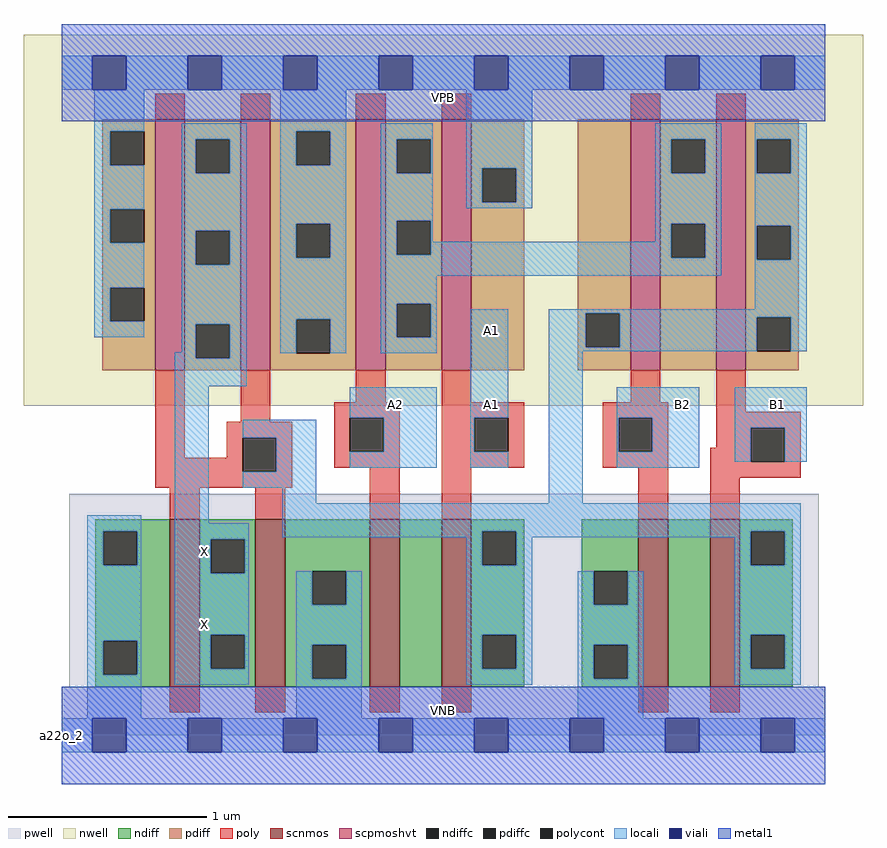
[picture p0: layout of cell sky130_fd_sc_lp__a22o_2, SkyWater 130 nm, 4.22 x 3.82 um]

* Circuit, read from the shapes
.subckt sky130_fd_sc_lp__a22o_2 A1 A2 B1 B2 VGND VNB VPB VPWR X
XM1 X n1 VGND VNB sky130_fd_pr__nfet_01v8 w=0.84 l=0.15 m=2
XM2 n2 A2 VGND VNB sky130_fd_pr__nfet_01v8 w=0.84 l=0.15
XM3 n1 A1 n2 VNB sky130_fd_pr__nfet_01v8 w=0.84 l=0.15
XM4 n3 B2 VGND VNB sky130_fd_pr__nfet_01v8 w=0.84 l=0.15
XM5 n1 B1 n3 VNB sky130_fd_pr__nfet_01v8 w=0.84 l=0.15
XM6 X n1 VPWR VPB sky130_fd_pr__pfet_01v8_hvt w=1.26 l=0.15 m=2
XM7 n4 A2 VPWR VPB sky130_fd_pr__pfet_01v8_hvt w=1.26 l=0.15
XM8 VPWR A1 n4 VPB sky130_fd_pr__pfet_01v8_hvt w=1.26 l=0.15
XM9 n4 B2 n1 VPB sky130_fd_pr__pfet_01v8_hvt w=1.26 l=0.15
XM10 n1 B1 n4 VPB sky130_fd_pr__pfet_01v8_hvt w=1.26 l=0.15
.ends

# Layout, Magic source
magic
tech sky130A
magscale 1 2
<< nwell >>
rect -38 331 806 704
<< pwell >>
rect 8 49 761 243
rect 0 0 768 49
<< scnmos >>
rect 109 49 139 217
rect 195 49 225 217
rect 310 49 340 217
rect 382 49 412 217
rect 580 49 610 217
rect 652 49 682 217
<< scpmoshvt >>
rect 94 367 124 619
rect 180 367 210 619
rect 296 367 326 619
rect 382 367 412 619
rect 572 367 602 619
rect 658 367 688 619
<< ndiff >>
rect 34 205 109 217
rect 34 171 42 205
rect 76 171 109 205
rect 34 95 109 171
rect 34 61 42 95
rect 76 61 109 95
rect 34 49 109 61
rect 139 197 195 217
rect 139 163 150 197
rect 184 163 195 197
rect 139 101 195 163
rect 139 67 150 101
rect 184 67 195 101
rect 139 49 195 67
rect 225 165 310 217
rect 225 131 252 165
rect 286 131 310 165
rect 225 91 310 131
rect 225 57 252 91
rect 286 57 310 91
rect 225 49 310 57
rect 340 49 382 217
rect 412 205 465 217
rect 412 171 423 205
rect 457 171 465 205
rect 412 101 465 171
rect 412 67 423 101
rect 457 67 465 101
rect 412 49 465 67
rect 523 165 580 217
rect 523 131 535 165
rect 569 131 580 165
rect 523 91 580 131
rect 523 57 535 91
rect 569 57 580 91
rect 523 49 580 57
rect 610 49 652 217
rect 682 205 735 217
rect 682 171 693 205
rect 727 171 735 205
rect 682 101 735 171
rect 682 67 693 101
rect 727 67 735 101
rect 682 49 735 67
<< pdiff >>
rect 41 607 94 619
rect 41 573 49 607
rect 83 573 94 607
rect 41 529 94 573
rect 41 495 49 529
rect 83 495 94 529
rect 41 450 94 495
rect 41 416 49 450
rect 83 416 94 450
rect 41 367 94 416
rect 124 599 180 619
rect 124 565 135 599
rect 169 565 180 599
rect 124 507 180 565
rect 124 473 135 507
rect 169 473 180 507
rect 124 413 180 473
rect 124 379 135 413
rect 169 379 180 413
rect 124 367 180 379
rect 210 607 296 619
rect 210 573 236 607
rect 270 573 296 607
rect 210 514 296 573
rect 210 480 236 514
rect 270 480 296 514
rect 210 418 296 480
rect 210 384 236 418
rect 270 384 296 418
rect 210 367 296 384
rect 326 599 382 619
rect 326 565 337 599
rect 371 565 382 599
rect 326 517 382 565
rect 326 483 337 517
rect 371 483 382 517
rect 326 434 382 483
rect 326 400 337 434
rect 371 400 382 434
rect 326 367 382 400
rect 412 570 465 619
rect 412 536 423 570
rect 457 536 465 570
rect 412 367 465 536
rect 519 424 572 619
rect 519 390 527 424
rect 561 390 572 424
rect 519 367 572 390
rect 602 599 658 619
rect 602 565 613 599
rect 647 565 658 599
rect 602 514 658 565
rect 602 480 613 514
rect 647 480 658 514
rect 602 367 658 480
rect 688 599 741 619
rect 688 565 699 599
rect 733 565 741 599
rect 688 512 741 565
rect 688 478 699 512
rect 733 478 741 512
rect 688 420 741 478
rect 688 386 699 420
rect 733 386 741 420
rect 688 367 741 386
<< ndiffc >>
rect 42 171 76 205
rect 42 61 76 95
rect 150 163 184 197
rect 150 67 184 101
rect 252 131 286 165
rect 252 57 286 91
rect 423 171 457 205
rect 423 67 457 101
rect 535 131 569 165
rect 535 57 569 91
rect 693 171 727 205
rect 693 67 727 101
<< pdiffc >>
rect 49 573 83 607
rect 49 495 83 529
rect 49 416 83 450
rect 135 565 169 599
rect 135 473 169 507
rect 135 379 169 413
rect 236 573 270 607
rect 236 480 270 514
rect 236 384 270 418
rect 337 565 371 599
rect 337 483 371 517
rect 337 400 371 434
rect 423 536 457 570
rect 527 390 561 424
rect 613 565 647 599
rect 613 480 647 514
rect 699 565 733 599
rect 699 478 733 512
rect 699 386 733 420
<< poly >>
rect 94 619 124 645
rect 180 619 210 645
rect 296 619 326 645
rect 382 619 412 645
rect 572 619 602 645
rect 658 619 688 645
rect 94 279 124 367
rect 180 315 210 367
rect 296 335 326 367
rect 382 335 412 367
rect 572 335 602 367
rect 274 319 340 335
rect 166 299 232 315
rect 166 279 182 299
rect 94 265 182 279
rect 216 265 232 299
rect 274 285 290 319
rect 324 285 340 319
rect 274 269 340 285
rect 94 249 232 265
rect 109 217 139 249
rect 195 217 225 249
rect 310 217 340 269
rect 382 319 465 335
rect 382 285 415 319
rect 449 285 465 319
rect 382 269 465 285
rect 544 319 610 335
rect 544 285 560 319
rect 594 285 610 319
rect 658 325 688 367
rect 658 309 743 325
rect 658 289 693 309
rect 544 269 610 285
rect 382 217 412 269
rect 580 217 610 269
rect 652 275 693 289
rect 727 275 743 309
rect 652 259 743 275
rect 652 217 682 259
rect 109 23 139 49
rect 195 23 225 49
rect 310 23 340 49
rect 382 23 412 49
rect 580 23 610 49
rect 652 23 682 49
<< polycont >>
rect 182 265 216 299
rect 290 285 324 319
rect 415 285 449 319
rect 560 285 594 319
rect 693 275 727 309
<< locali >>
rect 0 649 31 683
rect 65 649 127 683
rect 161 649 223 683
rect 257 649 319 683
rect 353 649 415 683
rect 449 649 511 683
rect 545 649 607 683
rect 641 649 703 683
rect 737 649 768 683
rect 33 607 83 649
rect 33 573 49 607
rect 33 529 83 573
rect 33 495 49 529
rect 33 450 83 495
rect 33 416 49 450
rect 33 400 83 416
rect 121 599 186 615
rect 121 565 135 599
rect 169 565 186 599
rect 121 507 186 565
rect 121 473 135 507
rect 169 473 186 507
rect 121 413 186 473
rect 121 385 135 413
rect 114 379 135 385
rect 169 379 186 413
rect 220 607 286 649
rect 220 573 236 607
rect 270 573 286 607
rect 220 514 286 573
rect 220 480 236 514
rect 270 480 286 514
rect 220 418 286 480
rect 220 384 236 418
rect 270 384 286 418
rect 321 599 373 615
rect 321 565 337 599
rect 371 565 373 599
rect 321 517 373 565
rect 407 570 473 649
rect 407 536 423 570
rect 457 536 473 570
rect 407 530 473 536
rect 597 599 663 615
rect 597 565 613 599
rect 647 565 663 599
rect 321 483 337 517
rect 371 496 373 517
rect 597 514 663 565
rect 597 496 613 514
rect 371 483 613 496
rect 321 480 613 483
rect 647 480 663 514
rect 321 462 663 480
rect 697 599 749 615
rect 697 565 699 599
rect 733 565 749 599
rect 697 512 749 565
rect 697 478 699 512
rect 733 478 749 512
rect 321 434 377 462
rect 321 400 337 434
rect 371 400 377 434
rect 697 428 749 478
rect 321 384 377 400
rect 114 351 186 379
rect 26 205 80 221
rect 26 171 42 205
rect 76 171 80 205
rect 26 95 80 171
rect 26 61 42 95
rect 76 61 80 95
rect 26 17 80 61
rect 114 213 148 351
rect 290 319 377 350
rect 182 299 256 317
rect 216 265 256 299
rect 324 285 377 319
rect 290 269 377 285
rect 411 319 449 428
rect 411 285 415 319
rect 411 269 449 285
rect 490 424 749 428
rect 490 390 527 424
rect 561 420 749 424
rect 561 390 699 420
rect 490 386 699 390
rect 733 386 749 420
rect 182 249 256 265
rect 222 233 256 249
rect 490 233 524 386
rect 558 319 641 350
rect 558 285 560 319
rect 594 285 641 319
rect 558 269 641 285
rect 677 309 749 350
rect 677 275 693 309
rect 727 275 749 309
rect 114 197 188 213
rect 222 205 743 233
rect 222 199 423 205
rect 114 163 150 197
rect 184 163 188 197
rect 407 171 423 199
rect 457 199 693 205
rect 457 171 473 199
rect 114 101 188 163
rect 114 67 150 101
rect 184 67 188 101
rect 114 51 188 67
rect 236 131 252 165
rect 286 131 302 165
rect 236 91 302 131
rect 236 57 252 91
rect 286 57 302 91
rect 236 17 302 57
rect 407 101 473 171
rect 677 171 693 199
rect 727 171 743 205
rect 407 67 423 101
rect 457 67 473 101
rect 407 51 473 67
rect 519 131 535 165
rect 569 131 585 165
rect 519 91 585 131
rect 519 57 535 91
rect 569 57 585 91
rect 519 17 585 57
rect 677 101 743 171
rect 677 67 693 101
rect 727 67 743 101
rect 677 51 743 67
rect 0 -17 31 17
rect 65 -17 127 17
rect 161 -17 223 17
rect 257 -17 319 17
rect 353 -17 415 17
rect 449 -17 511 17
rect 545 -17 607 17
rect 641 -17 703 17
rect 737 -17 768 17
<< viali >>
rect 31 649 65 683
rect 127 649 161 683
rect 223 649 257 683
rect 319 649 353 683
rect 415 649 449 683
rect 511 649 545 683
rect 607 649 641 683
rect 703 649 737 683
rect 31 -17 65 17
rect 127 -17 161 17
rect 223 -17 257 17
rect 319 -17 353 17
rect 415 -17 449 17
rect 511 -17 545 17
rect 607 -17 641 17
rect 703 -17 737 17
<< metal1 >>
rect 0 683 768 715
rect 0 649 31 683
rect 65 649 127 683
rect 161 649 223 683
rect 257 649 319 683
rect 353 649 415 683
rect 449 649 511 683
rect 545 649 607 683
rect 641 649 703 683
rect 737 649 768 683
rect 0 617 768 649
rect 0 17 768 49
rect 0 -17 31 17
rect 65 -17 127 17
rect 161 -17 223 17
rect 257 -17 319 17
rect 353 -17 415 17
rect 449 -17 511 17
rect 545 -17 607 17
rect 641 -17 703 17
rect 737 -17 768 17
rect 0 -49 768 -17
<< labels >>
flabel pwell s 0 0 768 49 0 FreeSans 200 0 0 0 VNB
port 6 nsew ground bidirectional
flabel nwell s 0 617 768 666 0 FreeSans 200 0 0 0 VPB
port 7 nsew power bidirectional
rlabel comment s 0 0 0 0 4 a22o_2
flabel metal1 s 0 617 768 666 0 FreeSans 340 0 0 0 VPWR
port 8 nsew power bidirectional
flabel metal1 s 0 0 768 49 0 FreeSans 340 0 0 0 VGND
port 5 nsew ground bidirectional
flabel locali s 127 94 161 128 0 FreeSans 340 0 0 0 X
port 9 nsew signal output
flabel locali s 127 168 161 202 0 FreeSans 340 0 0 0 X
port 9 nsew signal output
flabel locali s 319 316 353 350 0 FreeSans 340 0 0 0 A2
port 2 nsew signal input
flabel locali s 703 316 737 350 0 FreeSans 340 0 0 0 B1
port 3 nsew signal input
flabel locali s 607 316 641 350 0 FreeSans 340 0 0 0 B2
port 4 nsew signal input
flabel locali s 415 316 449 350 0 FreeSans 340 0 0 0 A1
port 1 nsew signal input
flabel locali s 415 390 449 424 0 FreeSans 340 0 0 0 A1
port 1 nsew signal input
<< properties >>
string LEFsite unit
string LEFclass CORE
string FIXED_BBOX 0 0 768 666
string GDS_FILE $PDKPATH/libs.ref/sky130_fd_sc_lp/gds/sky130_fd_sc_lp.gds
string LEFsymmetry X Y R90
string GDS_END 1146464
string GDS_START 1139138
<< end >>
